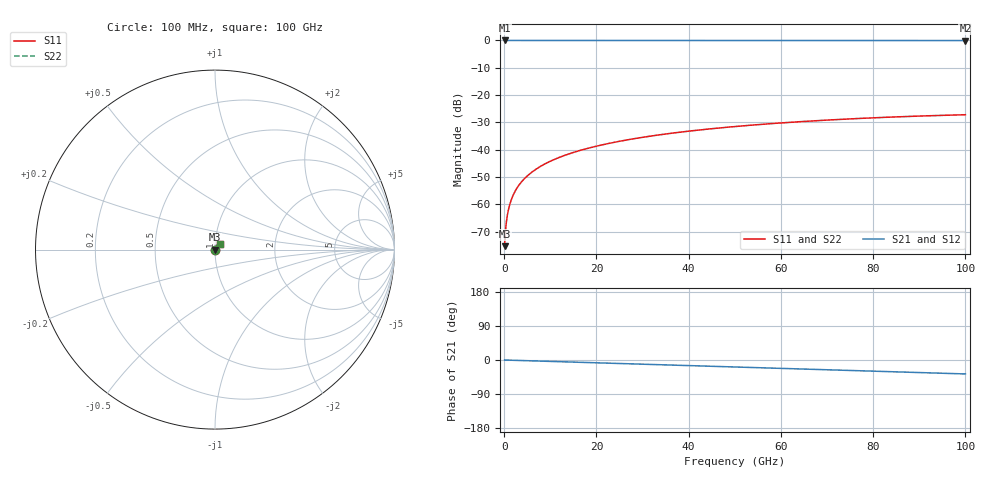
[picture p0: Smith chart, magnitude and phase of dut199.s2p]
! Touchstone file exported from HFSS 2026.1.0
!  File:  C:/ffzhzh/LocalFiles/Ansys_Project_Files/temp_train_TSV_199_1783507441_44152.aedt
!  Generated:  06:45:21 PM Jul  8, 2026
!  Design:  TSV
!  Project:  temp_train_TSV_199_1783507441_44152
! Variables:
!  h_bsmrdl = 2um
!  h_ox = 20um
!  h_rdl = 5um
!  h_sub = 73.19um
!  h_tmrdl = 5um
!  h_tsv = 73.19um
!  h_via = 3um
!  l_bsmrdl = 300um
!  l_sub = 417.98um
!  l_tmrdl = 200um
!  m_sub = 200um
!  pitch = 40.21um
!  r_tsv = 8.99um
!  s_tmrdl = 10um
!  w_bsmrdl = 18um
!  w_sub = 500um
!  w_tmrdl = 12um
!  x_tsv_center1 = 206um
!  x_tsv_center2 = 524um
!  x_tsv_center3 = 736um
!  x_tsv_center4 = 1054um
!  x_tsv_center5 = 1266um
!  x_tsv_center6 = 1584um
# GHz S MA R 50.000000
! Terminal data exported
! Port[1] = TSV1_1_T1
! Port[2] = TSV1_1_T2
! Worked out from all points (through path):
!   1000 points, 100 MHz to 100 GHz, reference 50 ohm
!   highest |S21| = 0.00 dB at 100 MHz (marker M1); lowest = 0.0 dB at 100 GHz (marker M2)
!   group delay of S21, straight-line fit = 1.02 ps
!   lowest |S11| = -75.3 dB at 100 MHz (marker M3), VSWR 1.00, Z = 50 + j0.00989 ohm
!   |S11| at or under -10 dB: start of sweep to end of sweep
!   |S22| runs from -75.3 to -27.2 dB; largest |S21 - S12| = 4.2e-15
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0.1  0.0001718 35.1  0.9999 -0.0  0.9999 -0.0  0.0001718 35.1
! Gamma 0 0 0 0
! Port Impedance 50 0 50 0
0.4  0.0004119 62.3  0.9998 -0.2  0.9998 -0.2  0.0004119 62.3
0.7  0.000637 67.2  0.9998 -0.3  0.9998 -0.3  0.000637 67.2
0.8  0.0007074 68.2  0.9997 -0.3  0.9997 -0.3  0.0007074 68.2
1.1  0.0009126 70.4  0.9997 -0.4  0.9997 -0.4  0.0009126 70.4
1.4  0.001113 71.9  0.9997 -0.5  0.9997 -0.5  0.001113 71.9
1.9  0.001438 73.5  0.9996 -0.7  0.9996 -0.7  0.001438 73.5
2.5  0.001817 74.6  0.9995 -0.9  0.9995 -0.9  0.001817 74.6
3.2  0.002244 75.5  0.9995 -1.2  0.9995 -1.2  0.002244 75.5
4  0.00272 76.2  0.9994 -1.5  0.9994 -1.5  0.00272 76.2
5  0.003304 76.9  0.9993 -1.9  0.9993 -1.9  0.003304 76.9
6.2  0.003998 77.4  0.9993 -2.3  0.9993 -2.3  0.003998 77.4
9  0.005594 77.8  0.9991 -3.3  0.9991 -3.3  0.005594 77.8
12.5  0.007548 77.5  0.9989 -4.6  0.9989 -4.6  0.007548 77.5
16.8  0.009897 76.8  0.9987 -6.2  0.9987 -6.2  0.009898 76.8
24.2  0.01385 75.1  0.9985 -8.9  0.9985 -8.9  0.01385 75.1
33.4  0.0186 72.5  0.9981 -12.3  0.9981 -12.3  0.0186 72.5
41.2  0.02245 70.1  0.9979 -15.2  0.9979 -15.2  0.02245 70.1
50.1  0.02661 67.2  0.9976 -18.4  0.9976 -18.4  0.02661 67.2
66.7  0.03362 61.6  0.997 -24.5  0.997 -24.5  0.03362 61.5
83.4  0.03945 55.8  0.9965 -30.7  0.9965 -30.7  0.03945 55.7
100  0.0437 49.9  0.996 -36.8  0.996 -36.8  0.0437 49.8
